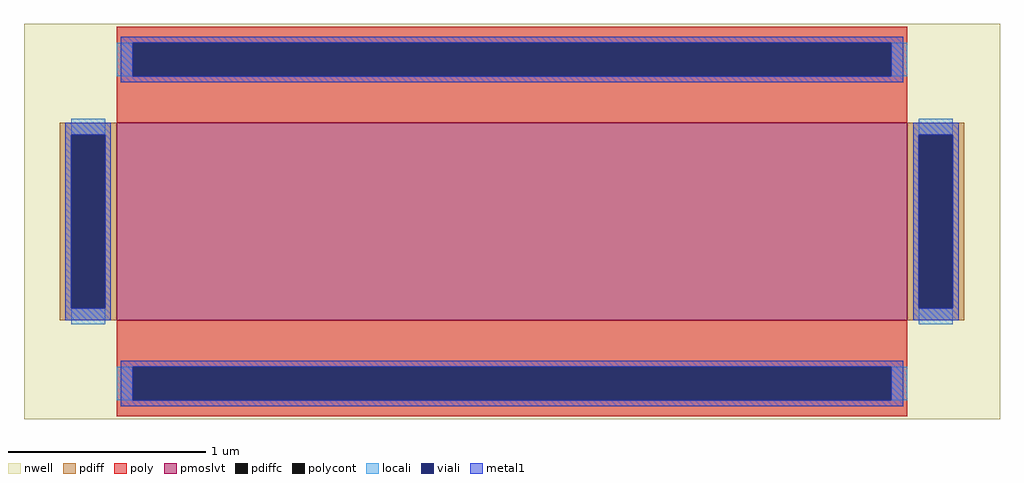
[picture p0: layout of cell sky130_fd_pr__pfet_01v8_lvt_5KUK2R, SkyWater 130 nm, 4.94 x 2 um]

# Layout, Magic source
magic
tech sky130A
magscale 1 2
<< nwell >>
rect -494 -200 494 200
<< pmoslvt >>
rect -400 -100 400 100
<< pdiff >>
rect -458 88 -400 100
rect -458 -88 -446 88
rect -412 -88 -400 88
rect -458 -100 -400 -88
rect 400 88 458 100
rect 400 -88 412 88
rect 446 -88 458 88
rect 400 -100 458 -88
<< pdiffc >>
rect -446 -88 -412 88
rect 412 -88 446 88
<< poly >>
rect -400 181 400 197
rect -400 147 -384 181
rect 384 147 400 181
rect -400 100 400 147
rect -400 -147 400 -100
rect -400 -181 -384 -147
rect 384 -181 400 -147
rect -400 -197 400 -181
<< polycont >>
rect -384 147 384 181
rect -384 -181 384 -147
<< locali >>
rect -400 147 -384 181
rect 384 147 400 181
rect -446 88 -412 104
rect -446 -104 -412 -88
rect 412 88 446 104
rect 412 -104 446 -88
rect -400 -181 -384 -147
rect 384 -181 400 -147
<< viali >>
rect -384 147 384 181
rect -446 -88 -412 88
rect 412 -88 446 88
rect -384 -181 384 -147
<< metal1 >>
rect -396 181 396 187
rect -396 147 -384 181
rect 384 147 396 181
rect -396 141 396 147
rect -452 88 -406 100
rect -452 -88 -446 88
rect -412 -88 -406 88
rect -452 -100 -406 -88
rect 406 88 452 100
rect 406 -88 412 88
rect 446 -88 452 88
rect 406 -100 452 -88
rect -396 -147 396 -141
rect -396 -181 -384 -147
rect 384 -181 396 -147
rect -396 -187 396 -181
<< properties >>
string gencell sky130_fd_pr__pfet_01v8_lvt
string library sky130
string parameters w 1 l 4 m 1 nf 1 diffcov 100 polycov 100 guard 0 glc 0 grc 0 gtc 0 gbc 0 tbcov 100 rlcov 100 topc 1 botc 1 poverlap 0 doverlap 1 lmin 0.35 wmin 0.42 compatible {sky130_fd_pr__pfet_01v8  sky130_fd_pr__pfet_01v8_lvt sky130_fd_pr__pfet_01v8_hvt  sky130_fd_pr__pfet_g5v0d10v5} full_metal 0 viasrc 100 viadrn 100 viagate 100 viagb 0 viagr 0 viagl 0 viagt 0
<< end >>
